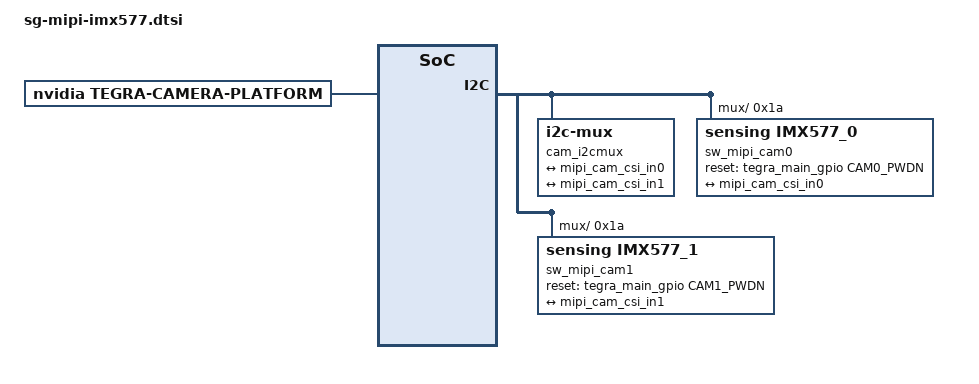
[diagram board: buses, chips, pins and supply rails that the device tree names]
/*
 * Copyright (c) 2022-2023, NVIDIA CORPORATION.  All rights reserved.
 *
 * This program is free software; you can redistribute it and/or modify
 * it under the terms of the GNU General Public License as published by
 * the Free Software Foundation; either version 2 of the License, or
 * (at your option) any later version.
 *
 * This program is distributed in the hope that it will be useful, but WITHOUT
 * ANY WARRANTY; without even the implied warranty of MERCHANTABILITY or
 * FITNESS FOR A PARTICULAR PURPOSE.  See the GNU General Public License for
 * more details.
 *
 * You should have received a copy of the GNU General Public License
 * along with this program.  If not, see <http://www.gnu.org/licenses/>.
 */
#define CAM0_PWDN	TEGRA234_MAIN_GPIO(H, 6)
#define CAM1_PWDN	TEGRA234_MAIN_GPIO(AC, 0)
#define CAM_I2C_MUX 	TEGRA234_AON_GPIO(CC, 3)

/ {
	tegra-capture-vi  {
		num-channels = <2>;
		ports {
			#address-cells = <1>;
			#size-cells = <0>;
			port@0 {
				reg = <0>;
				mipi_cam_vi_in0: endpoint {
					port-index = <1>;
					bus-width = <2>;
					remote-endpoint = <&mipi_cam_csi_out0>;
				};
			};
			port@1 {
				reg = <1>;
				mipi_cam_vi_in1: endpoint {
					port-index = <2>;
					bus-width = <4>;
					remote-endpoint = <&mipi_cam_csi_out1>;
				};
			};
		};
	};

	bus@0{
		host1x@13e00000 {
			nvcsi@15a00000 {
				num-channels = <2>;
				#address-cells = <1>;
				#size-cells = <0>;
				channel@0 {
					reg = <0>;
					ports {
						#address-cells = <1>;
						#size-cells = <0>;
						port@0 {
							reg = <0>;
							mipi_cam_csi_in0: endpoint@0 {
								port-index = <0>;
								bus-width = <2>;
								remote-endpoint = <&mipi_cam_out0>;
							};
						};
						port@1 {
							reg = <1>;
							mipi_cam_csi_out0: endpoint@1 {
								remote-endpoint = <&mipi_cam_vi_in0>;
							};
						};
					};
				};
				channel@1 {
					reg = <1>;
					ports {
						#address-cells = <1>;
						#size-cells = <0>;
						port@0 {
							reg = <0>;
							mipi_cam_csi_in1: endpoint@2 {
								port-index = <2>;
								bus-width = <4>;
								remote-endpoint = <&mipi_cam_out1>;
							};
						};
						port@1 {
							reg = <1>;
							mipi_cam_csi_out1: endpoint@3 {
								remote-endpoint = <&mipi_cam_vi_in1>;
							};
						};
					};
				};
			};
		};

		cam_i2cmux {
			i2c@0 {
				sw_mipi_cam0: cam_0@1a {
					compatible = "sensing,imx577_0";
					/* I2C device address */
					reg = <0x1a>;

					/* V4L2 device node location */
					devnode = "video0";

					/* Physical dimensions of sensor */
					physical_w = "3.680";
					physical_h = "2.760";

					sensor_model = "imx577";

					/* Convert Gain to unit of dB (decibel) befor passing to kernel driver */
					//use_decibel_gain = "true";

					use_sensor_mode_id = "true";

					reset-gpios = <&tegra_main_gpio CAM0_PWDN GPIO_ACTIVE_HIGH>;

					/* ==== Modes ====*/
					mode0{ /* sensor_mode_968x550_4lane_raw12_linear_30fps */
						mclk_khz = "24000";
						num_lanes = "2";
						tegra_sinterface = "serial_b";
						phy_mode = "DPHY";
						discontinuous_clk = "no";
						dpcm_enable = "false";
						cil_settletime = "0";
						lane_polarity = "6";

						active_w = "4056";
						active_h = "3040";
						mode_type = "bayer";
						pixel_phase = "rggb";
						csi_pixel_bit_depth = "10";
						dynamic_pixel_bit_depth = "10";
						readout_orientation = "0";
						line_length = "8512";
						inherent_gain = "1";
						mclk_multiplier = "33.3";//600000 Khz / 25 =24000 Khz
						pix_clk_hz = "799200000";

						gain_factor = "10";
						min_gain_val = "10"; /* d */
						max_gain_val = "220"; /* d */
						step_gain_val = "5"; /* 0.5 */
						default_gain = "10";
						min_hdr_ratio = "1";
						max_hdr_ratio = "1";
						framerate_factor = "1000000";
						min_framerate = "10000000";
						max_framerate = "30000000";
						step_framerate = "1";
						default_framerate = "30000000";
						exposure_factor = "1000000";
						min_exp_time = "59"; /*us, 2 lines*/
						max_exp_time = "33000";
						step_exp_time = "1";
						default_exp_time = "33000";/* us */
						embedded_metadata_height = "2";
					};

					mode1 {
						mclk_khz = "24000";
						num_lanes = "2";
						tegra_sinterface = "serial_b";
						phy_mode = "DPHY";
						discontinuous_clk = "no";
						dpcm_enable = "false";
						cil_settletime = "0";
						lane_polarity = "6";

						active_w = "3840";
						active_h = "2160";
						mode_type = "bayer";
						pixel_phase = "rggb";
						csi_pixel_bit_depth = "10";
						dynamic_pixel_bit_depth = "10";
						readout_orientation = "0";
						line_length = "8512";
						inherent_gain = "1";
						mclk_multiplier = "26.6";//600000 Khz / 25 =24000 Khz
						pix_clk_hz = "799200000";   //638400000

						gain_factor = "10";
						min_gain_val = "10"; /* d */
						max_gain_val = "220"; /* d */
						step_gain_val = "5"; /* 0.5 */
						default_gain = "10";
						min_hdr_ratio = "1";
						max_hdr_ratio = "1";
						framerate_factor = "1000000";
						min_framerate = "10000000";
						max_framerate = "30000000";
						step_framerate = "1";
						default_framerate = "30000000";
						exposure_factor = "1000000";
						min_exp_time = "59"; /*us, 2 lines*/
						max_exp_time = "33000";
						step_exp_time = "1";
						default_exp_time = "33000";/* us */
						embedded_metadata_height = "2";
					};

					ports {
						#address-cells = <1>;
						#size-cells = <0>;

						port@0 {
							reg = <0>;
							mipi_cam_out0: endpoint {
								port-index = <1>;
								bus-width = <2>;
								remote-endpoint = <&mipi_cam_csi_in0>;
							};
						};
					};
				};
			};
			i2c@1 {
				sw_mipi_cam1: cam_1@1a {
					compatible = "sensing,imx577_1";
					/* I2C device address */
					reg = <0x1a>;

					/* V4L2 device node location */
					devnode = "video1";

					/* Physical dimensions of sensor */
					physical_w = "3.680";
					physical_h = "2.760";

					sensor_model = "imx577";

					use_sensor_mode_id = "true";

					/* Convert Gain to unit of dB (decibel) befor passing to kernel driver */
					//use_decibel_gain = "true";

					reset-gpios = <&tegra_main_gpio CAM1_PWDN GPIO_ACTIVE_HIGH>;

					mode0 { /* 4056x3040_4lane_raw10_40fps_linear */
						mclk_khz = "24000";
						num_lanes = "4";
						tegra_sinterface = "serial_c";
						phy_mode = "DPHY";
						discontinuous_clk = "no";
						dpcm_enable = "false";
						cil_settletime = "0";

						active_w = "4056";
						active_h = "3040";
						mode_type = "bayer";
						pixel_phase = "rggb";
						csi_pixel_bit_depth = "10";
						dynamic_pixel_bit_depth = "10";
						readout_orientation = "90";
						line_length = "4512";
						inherent_gain = "1";
						mclk_multiplier = "25";
						pix_clk_hz = "600000000";

						gain_factor = "10";
						min_gain_val = "10"; /* 1.00x */
						max_gain_val = "220"; /* 22x */
						step_gain_val = "5";
						default_gain = "10"; /* 1.00x */
						min_hdr_ratio = "1";
						max_hdr_ratio = "1";
						framerate_factor = "1000000";
						min_framerate = "40000000";
						max_framerate = "40000000";
						step_framerate = "1";
						default_framerate = "40000000";
						exposure_factor = "1000000";
						min_exp_time = "22"; /*us, 2 lines*/
						max_exp_time = "25000";
						step_exp_time = "1";
						default_exp_time = "25000";/* us */
						embedded_metadata_height = "2";
					};

					mode1{ /* 4056x2288_4lane_raw10_60fps_linear */
						mclk_khz = "24000";
						num_lanes = "4";
						tegra_sinterface = "serial_c";
						phy_mode = "DPHY";
						discontinuous_clk = "no";
						dpcm_enable = "false";
						cil_settletime = "0";

						active_w = "4056";
						active_h = "2288";
						mode_type = "bayer";
						pixel_phase = "rggb";
						csi_pixel_bit_depth = "10";
						dynamic_pixel_bit_depth = "10";
						readout_orientation = "90";
						line_length = "4512";
						inherent_gain = "1";
						mclk_multiplier = "27";
						pix_clk_hz = "648000000";

						gain_factor = "10";
						min_gain_val = "10"; /* 1.00x */
						max_gain_val = "220"; /* 22x */
						step_gain_val = "5";
						default_gain = "10"; /* 1.00x */
						min_hdr_ratio = "1";
						max_hdr_ratio = "1";
						framerate_factor = "1000000";
						min_framerate = "60000000";
						max_framerate = "60000000";
						step_framerate = "1";
						default_framerate = "60000000";
						exposure_factor = "1000000";
						min_exp_time = "14"; /*us, 2 lines*/
						max_exp_time = "16000";
						step_exp_time = "20";
						default_exp_time = "16000";/* us */
						embedded_metadata_height = "2";
					};

					mode2{ /* 2024x1144_4lane_raw10_60fps_linear */
						mclk_khz = "24000";
						num_lanes = "4";
						tegra_sinterface = "serial_c";
						phy_mode = "DPHY";
						discontinuous_clk = "no";
						dpcm_enable = "false";
						cil_settletime = "0";

						active_w = "2024";
						active_h = "1144";
						mode_type = "bayer";
						pixel_phase = "rggb";
						csi_pixel_bit_depth = "10";
						dynamic_pixel_bit_depth = "10";
						readout_orientation = "90";
						line_length = "4512";
						inherent_gain = "1";
						mclk_multiplier = "27";
						pix_clk_hz = "648000000";

						gain_factor = "10";
						min_gain_val = "10"; /* 1.00x */
						max_gain_val = "220"; /* 22x */
						step_gain_val = "5";
						default_gain = "10"; /* 1.00x */
						min_hdr_ratio = "1";
						max_hdr_ratio = "1";
						framerate_factor = "1000000";
						min_framerate = "60000000";
						max_framerate = "60000000";
						step_framerate = "1";
						default_framerate = "60000000";
						exposure_factor = "1000000";
						min_exp_time = "14"; /*us, 2 lines*/
						max_exp_time = "16000";
						step_exp_time = "1";
						default_exp_time = "16000";/* us */
						embedded_metadata_height = "2";
					};

					mode3{ /* 2028x1520_4lane_raw10_130fps_linear */
						mclk_khz = "24000";
						num_lanes = "4";
						tegra_sinterface = "serial_c";
						phy_mode = "DPHY";
						discontinuous_clk = "no";
						dpcm_enable = "false";
						cil_settletime = "0";

						active_w = "2028";
						active_h = "1520";
						mode_type = "bayer";
						pixel_phase = "rggb";
						csi_pixel_bit_depth = "10";
						dynamic_pixel_bit_depth = "10";
						readout_orientation = "90";
						line_length = "2976";
						inherent_gain = "1";
						mclk_multiplier = "27";
						pix_clk_hz = "648000000";

						gain_factor = "10";
						min_gain_val = "10"; /* 1.00x */
						max_gain_val = "220"; /* 22x */
						step_gain_val = "5";
						default_gain = "10"; /* 1.00x */
						min_hdr_ratio = "1";
						max_hdr_ratio = "1";
						framerate_factor = "1000000";
						min_framerate = "130000000";
						max_framerate = "130000000";
						step_framerate = "1";
						default_framerate = "130000000";
						exposure_factor = "1000000";
						min_exp_time = "10"; /*us, 2 lines*/
						max_exp_time = "7000";
						step_exp_time = "1";
						default_exp_time = "7000";/* us */
						embedded_metadata_height = "2";
					};

					mode4{ /* 2028x1110_4lane_raw10_240fps_linear */
						mclk_khz = "24000";
						num_lanes = "4";
						tegra_sinterface = "serial_c";
						phy_mode = "DPHY";
						discontinuous_clk = "no";
						dpcm_enable = "false";
						cil_settletime = "0";

						active_w = "2028";
						active_h = "1110";
						mode_type = "bayer";
						pixel_phase = "rggb";
						csi_pixel_bit_depth = "10";
						dynamic_pixel_bit_depth = "10";
						readout_orientation = "90";
						line_length = "2976";
						inherent_gain = "1";
						mclk_multiplier = "30";
						pix_clk_hz = "720000000";

						gain_factor = "10";
						min_gain_val = "10"; /* 1.00x */
						max_gain_val = "220"; /* 22x */
						step_gain_val = "5";
						default_gain = "10"; /* 1.00x */
						min_hdr_ratio = "1";
						max_hdr_ratio = "1";
						framerate_factor = "1000000";
						min_framerate = "240000000";
						max_framerate = "240000000";
						step_framerate = "1";
						default_framerate = "240000000";
						exposure_factor = "1000000";
						min_exp_time = "10"; /*us, 2 lines*/
						max_exp_time = "5000";
						step_exp_time = "1";
						default_exp_time = "5000";/* us */
						embedded_metadata_height = "2";
					};

					mode5{ /* 4046x3040_4lane_raw10_15fps_dol2 */
						mclk_khz = "24000";
						num_lanes = "4";
						tegra_sinterface = "serial_c";
						phy_mode = "DPHY";
						discontinuous_clk = "no";
						dpcm_enable = "false";
						cil_settletime = "0";

						active_w = "4060";
						active_h = "6480";   
						mode_type = "bayer_wdr_dol";
						pixel_phase = "rggb";
						csi_pixel_bit_depth = "10";
						dynamic_pixel_bit_depth = "10";
						readout_orientation = "90";
						line_length = "4512";
						inherent_gain = "1";
						mclk_multiplier = "18";
						pix_clk_hz = "432000000";

						gain_factor = "10";
						min_gain_val = "10"; /* 1.00x */
						max_gain_val = "220"; /* 22x */
						step_gain_val = "5";
						default_gain = "10"; /* 1.00x */
						min_hdr_ratio = "16";
						max_hdr_ratio = "16";
						framerate_factor = "1000000";
						min_framerate = "15000000";
						max_framerate = "15000000";
						step_framerate = "1";
						default_framerate = "15000000";
						exposure_factor = "1000000";
						min_exp_time = "22"; /*us, 2 lines*/
						max_exp_time = "66000";
						step_exp_time = "1";
						default_exp_time = "66000";/* us */
						embedded_metadata_height = "2";

						num_of_exposure = "2";
						num_of_ignored_lines = "0";
						num_of_lines_offset_0 = "200";
						num_of_ignored_pixels = "4";
						num_of_left_margin_pixels = "10";
						num_of_right_margin_pixels = "0";
					};

					mode6{ /* 4046x2288_4lane_raw10_30fps_dol2 */
						mclk_khz = "24000";
						num_lanes = "4";
						tegra_sinterface = "serial_c";
						phy_mode = "DPHY";
						discontinuous_clk = "no";
						dpcm_enable = "false";
						cil_settletime = "0";

						active_w = "4060";
						active_h = "4976";      //4576
						mode_type = "bayer_wdr_dol";
						pixel_phase = "rggb";
						csi_pixel_bit_depth = "10";
						dynamic_pixel_bit_depth = "10";
						readout_orientation = "90";
						line_length = "4512";
						inherent_gain = "1";
						mclk_multiplier = "27";
						pix_clk_hz = "648000000";  			

						gain_factor = "10";
						min_gain_val = "10"; /* 1.00x */
						max_gain_val = "220"; /* 22x */
						step_gain_val = "5";
						default_gain = "10"; /* 1.00x */
						min_hdr_ratio = "8";
						max_hdr_ratio = "8";
						framerate_factor = "1000000";
						min_framerate = "30000000";
						max_framerate = "30000000";
						step_framerate = "1";
						default_framerate = "30000000";
						exposure_factor = "1000000";
						min_exp_time = "15"; /*us, 2 lines*/
						max_exp_time = "30000";
						step_exp_time = "1";
						default_exp_time = "30000";/* us */
						embedded_metadata_height = "2";

						num_of_exposure = "2";
						num_of_ignored_lines = "0";
						num_of_lines_offset_0 = "200";
						num_of_ignored_pixels = "4";
						num_of_left_margin_pixels = "10";
						num_of_right_margin_pixels = "0";
					};

					ports {
						#address-cells = <1>;
						#size-cells = <0>;

						port@0 {
							reg = <0>;
							mipi_cam_out1: endpoint {
								port-index = <2>;
								bus-width = <4>;
								remote-endpoint = <&mipi_cam_csi_in1>;
							};
						};
					};
				};
			};
		};
	};	
};

/ {
	tegra-camera-platform {
		compatible = "nvidia, tegra-camera-platform";

		/**
		* Physical settings to calculate max ISO BW
		*
		* num_csi_lanes = <>;
		* Total number of CSI lanes when all cameras are active
		*
		* max_lane_speed = <>;
		* Max lane speed in Kbit/s
		*
		* min_bits_per_pixel = <>;
		* Min bits per pixel
		*
		* vi_peak_byte_per_pixel = <>;
		* Max byte per pixel for the VI ISO case
		*
		* vi_bw_margin_pct = <>;
		* Vi bandwidth margin in percentage
		*
		* max_pixel_rate = <>;
		* Max pixel rate in Kpixel/s for the ISP ISO case
		*
		* isp_peak_byte_per_pixel = <>;
		* Max byte per pixel for the ISP ISO case
		*
		* isp_bw_margin_pct = <>;
		* Isp bandwidth margin in percentage
		*/
		num_csi_lanes = <8>;
		max_lane_speed = <2500000>;
		min_bits_per_pixel = <10>;
		vi_peak_byte_per_pixel = <2>;
		vi_bw_margin_pct = <25>;
		max_pixel_rate = <7500000>;
		isp_peak_byte_per_pixel = <5>;
		isp_bw_margin_pct = <25>;

		/**
		 * The general guideline for naming badge_info contains 3 parts, and is as follows,
		 * The first part is the camera_board_id for the module; if the module is in a FFD
		 * platform, then use the platform name for this part.
		 * The second part contains the position of the module, ex. "rear" or "front".
		 * The third part contains the last 6 characters of a part number which is found
		 * in the module's specsheet from the vendor.
		 */
		modules {
			module0 {
				badge = "imx577_front";
				position = "front";
				orientation = "1";
				drivernode0 {
					pcl_id = "v4l2_sensor";
					devname = "imx577 9-001a";
					// proc-device-tree = "/proc/device-tree/bus@0/cam_i2cmux/i2c@0/cam_0@1a";
					sysfs-device-tree = "/sys/firmware/devicetree/base/bus@0/cam_i2cmux/i2c@0/cam_0@1a";
				};
			};
			module1 {
				badge = "imx577_rear";
				position = "rear";
				orientation = "1";
				drivernode0 {
					pcl_id = "v4l2_sensor";
					devname = "imx577 10-001a";
					// proc-device-tree = "/proc/device-tree/bus@0/cam_i2cmux/i2c@1/cam_1@1a";
					sysfs-device-tree = "/sys/firmware/devicetree/base/bus@0/cam_i2cmux/i2c@1/cam_1@1a";
				};
			};
		};
	};
};
